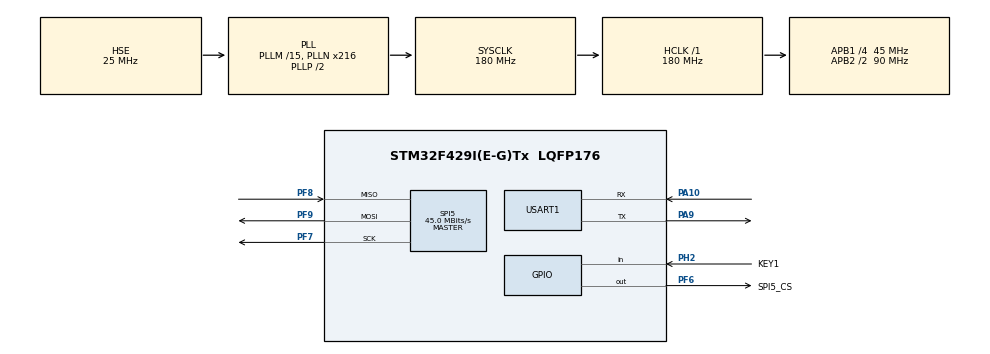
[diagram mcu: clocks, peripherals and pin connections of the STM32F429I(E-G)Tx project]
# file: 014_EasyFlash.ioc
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Mcu.Family=STM32F4
Mcu.Name=STM32F429I(E-G)Tx
Mcu.Package=LQFP176
NVIC.PriorityGroup=NVIC_PRIORITYGROUP_2
NVIC.TIM2_IRQn=true\:1\:0\:true\:false\:true\:true\:true
NVIC.USART1_IRQn=true\:1\:0\:true\:false\:true\:true\:true
PA10.Mode=Asynchronous
PA10.Signal=USART1_RX
PA13.Mode=Serial_Wire
PA13.Signal=SYS_JTMS-SWDIO
PA14.Mode=Serial_Wire
PA14.Signal=SYS_JTCK-SWCLK
PA9.Mode=Asynchronous
PA9.Signal=USART1_TX
PC14/OSC32_IN.Mode=LSE-External-Oscillator
PC14/OSC32_IN.Signal=RCC_OSC32_IN
PC15/OSC32_OUT.Mode=LSE-External-Oscillator
PC15/OSC32_OUT.Signal=RCC_OSC32_OUT
PF6.GPIO_Label=SPI5_CS
PF6.GPIO_PuPd=GPIO_PULLUP
PF6.GPIO_Speed=GPIO_SPEED_FREQ_VERY_HIGH
PF6.PinState=GPIO_PIN_SET
PF6.Signal=GPIO_Output
PF7.Mode=Full_Duplex_Master
PF7.Signal=SPI5_SCK
PF8.Mode=Full_Duplex_Master
PF8.Signal=SPI5_MISO
PF9.Mode=Full_Duplex_Master
PF9.Signal=SPI5_MOSI
PH0/OSC_IN.Mode=HSE-External-Oscillator
PH0/OSC_IN.Signal=RCC_OSC_IN
PH1/OSC_OUT.Mode=HSE-External-Oscillator
PH1/OSC_OUT.Signal=RCC_OSC_OUT
PH2.GPIO_Label=KEY1
PH2.GPIO_PuPd=GPIO_PULLUP
PH2.Signal=GPIO_Input
ProjectManager.HeapSize=0x200
ProjectManager.StackSize=0x400
ProjectManager.TargetToolchain=MDK-ARM V5.27
RCC.48MHZClocksFreq_Value=90000000
RCC.AHBFreq_Value=180000000
RCC.APB1CLKDivider=RCC_HCLK_DIV4
RCC.APB1Freq_Value=45000000
RCC.APB1TimFreq_Value=90000000
RCC.APB2CLKDivider=RCC_HCLK_DIV2
RCC.APB2Freq_Value=90000000
RCC.APB2TimFreq_Value=180000000
RCC.CortexFreq_Value=180000000
RCC.HCLKFreq_Value=180000000
RCC.HSE_VALUE=25000000
RCC.HSI_VALUE=16000000
RCC.PLLM=15
RCC.PLLN=216
RCC.PLLSourceVirtual=RCC_PLLSOURCE_HSE
RCC.SYSCLKFreq_VALUE=180000000
RCC.SYSCLKSource=RCC_SYSCLKSOURCE_PLLCLK
RCC.VCOOutputFreq_Value=360000000
SPI5.BaudRatePrescaler=SPI_BAUDRATEPRESCALER_2
SPI5.CalculateBaudRate=45.0 MBits/s
SPI5.Direction=SPI_DIRECTION_2LINES
SPI5.Mode=SPI_MODE_MASTER
SPI5.VirtualType=VM_MASTER
TIM2.Period=5-1
TIM2.Prescaler=45000-1
USART1.VirtualMode=VM_ASYNC
VP_TIM2_VS_ClockSourceINT.Mode=Internal
board=custom

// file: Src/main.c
/* USER CODE BEGIN Header */
/**
  ******************************************************************************
  * @file           : main.c
  * @brief          : Main program body
  ******************************************************************************
  * @attention
  *
  * <h2><center>&copy; Copyright (c) 2021 STMicroelectronics.
  * All rights reserved.</center></h2>
  *
  * This software component is licensed by ST under BSD 3-Clause license,
  * the "License"; You may not use this file except in compliance with the
  * License. You may obtain a copy of the License at:
  *                        opensource.org/licenses/BSD-3-Clause
  *
  ******************************************************************************
  */
/* USER CODE END Header */

#include "main.h"
#include "spi.h"
#include "tim.h"
#include "usart.h"
#include "gpio.h"

/* USER CODE BEGIN Includes */
#include "config.h"

/* USER CODE END Includes */

void SystemClock_Config(void);

/* USER CODE BEGIN 0 */

//开辟一块内存用于存放环形队列消息缓冲区
#define MSG_BUFFDATA_SIZE	128
static uint8_t msg_buffdata[MSG_BUFFDATA_SIZE];

//用于存储消息的环形缓冲队列的rt_ringbuffer句柄
struct rt_ringbuffer	msg_ringbuffer;

//系统消息处理
static uint8_t message_buff[256];
void msg_process(void)
{
	system_message sys_msg;

	if(rt_ringbuffer_data_len(&msg_ringbuffer)!= 0) //消息队列不为空，则有消息需要处理
	{
		rt_ringbuffer_get(&msg_ringbuffer,(uint8_t *) &sys_msg.msg_type, 2);//读取消息类型(1字节) + 消息参数(1字节)，其中：不同消息类型对应的消息参数意义也不同，由用户自行定义

		switch(sys_msg.msg_type)
		{
			case MSG_USART1_REC_FINISH:
				rt_ringbuffer_get(&usart1_recv_ring_buf, message_buff, sys_msg.msg_parameter);
			    message_buff[sys_msg.msg_parameter] = '\0';//sys_msg.msg_parameter中存放的是串口1接收帧的长度信息
			    printf("%s\n",message_buff);
				break;

			case MSG_W25QXX_TEST:
				w25qxx_test();
				break;

			case MSG_EASYFLASH_TEST:
				test_env();
				break;
			default:break;
		}
	}
}

//申请三个按键结构
struct Button button0;
struct Button button1;
struct Button button2;

//三个按键状态读取接口
uint8_t read_button0_GPIO()
{
	return HAL_GPIO_ReadPin(KEY0_GPIO_Port, KEY0_Pin);
}
uint8_t read_button1_GPIO()
{
	return HAL_GPIO_ReadPin(KEY1_GPIO_Port, KEY1_Pin);
}
uint8_t read_button2_GPIO()
{
	return HAL_GPIO_ReadPin(KEY2_GPIO_Port, KEY2_Pin);
}

//按键回调函数
void button0_callback(void *button)
{
		//系统消息
		system_message  sys_msg;

    uint32_t btn_event_val;

    btn_event_val = get_button_event((struct Button *)button);

    switch(btn_event_val)
    {
	    case SINGLE_CLICK:
	        printf("---> key0 single click! <---\r\n");
	    	break;

			case DOUBLE_CLICK:
					printf("---> key0 double click! <---\r\n");
				break;
	}
}
void button1_callback(void *button)
{
		//系统消息
		system_message  sys_msg;

    uint32_t btn_event_val;

    btn_event_val = get_button_event((struct Button *)button);

    switch(btn_event_val)
    {
	    case PRESS_DOWN:
	        printf("---> key1 press down! <---\r\n");
	    	break;

	    case PRESS_UP:
	        printf("***> key1 press up! <***\r\n");
	    	break;

	    case PRESS_REPEAT:
	        printf("---> key1 press repeat! <---\r\n");
	    	break;

	    case SINGLE_CLICK: //send msg MSG_W25QXX_TEST,in order to test w25q64 example
					sys_msg.msg_type = MSG_W25QXX_TEST;
					sys_msg.msg_parameter = 0;
					rt_ringbuffer_put(&msg_ringbuffer,(uint8_t *)&sys_msg.msg_type,2);
	        printf("---> key1 single click! <---\r\n");
	    	break;

			case DOUBLE_CLICK://send msg MSG_EASYFLASH_TEST,in order to test EASYFLASH example
					sys_msg.msg_type = MSG_EASYFLASH_TEST;
					sys_msg.msg_parameter = 0;
					rt_ringbuffer_put(&msg_ringbuffer,(uint8_t *)&sys_msg.msg_type,2);
					printf("---> key1 double click! <---\r\n");
				break;

	    case LONG_PRESS_START:
	        printf("---> key1 long press start! <---\r\n");
	   		break;

	    case LONG_PRESS_HOLD:
	        printf("***> key1 long press hold! <***\r\n");
	    	break;
	}
}
void button2_callback(void *button)
{
		//系统消息
		system_message  sys_msg;

    uint32_t btn_event_val;

    btn_event_val = get_button_event((struct Button *)button);

    switch(btn_event_val)
    {
	    case SINGLE_CLICK:
	        printf("---> key2 single click! <---\r\n");
	    	break;

			case DOUBLE_CLICK:
					printf("---> key2 double click! <---\r\n");
				break;
	}
}

//TIM回调
void HAL_TIM_PeriodElapsedCallback(TIM_HandleTypeDef *htim)
{
		if(htim->Instance == htim2.Instance)
		{
			button_ticks();
		}

}

/*****************************w25qxx example****************************************/
char w25qxx_test_string[6][128]={
	"***************************Copyright (c)***************************",
	"**----------------------Hello World !!! -------------------------**",
	"** Thanks to armink:https://github.com/armink/SFUD               **",
	"** reference:                                                    **",
	"** https://mculover666.blog.csdn.net/article/details/105516371   **",
	"*******************************************************************"
};
//w25qxx_test测试
void w25qxx_test(void)
{
	int i;
	char sBuff[256]={0};
//	sfud_err result = SFUD_SUCCESS;
    const sfud_flash *flash = sfud_get_device_table() + 0;

	for(i=0;i<6;i++)
	{
		sfud_erase_write(flash, 0, strlen(w25qxx_test_string[i]),(uint8_t *)w25qxx_test_string[i]);
	    sfud_read(flash, 0, strlen(w25qxx_test_string[i]),(uint8_t *) sBuff);
	    printf("%s\n",sBuff);
	}
}

//初始化easyflash函数返回值，用于判断是否初始化成功
unsigned char ret = 0;

//编写一个EasyFlash测试函数
void test_env(void)
{
	char wifi_ssid[20] = {0};
	char wifi_passwd[20] = {0};
	size_t len = 0;

	/* 读取默认环境变量值 */
	//环境变量长度未知，先获取 Flash 上存储的实际长度 */
	ef_get_env_blob("wifi_ssid", NULL, 0, &len);
	//获取环境变量
	ef_get_env_blob("wifi_ssid", wifi_ssid, len, NULL);
	//打印获取的环境变量值
	printf("wifi_ssid env is:%s\r\n", wifi_ssid);

	//环境变量长度未知，先获取 Flash 上存储的实际长度 */
	ef_get_env_blob("wifi_passwd", NULL, 0, &len);
	//获取环境变量
	ef_get_env_blob("wifi_passwd", wifi_passwd, len, NULL);
	//打印获取的环境变量值
	printf("wifi_passwd env is:%s\r\n", wifi_passwd);

	/* 将环境变量值改变 */
	ef_set_env_blob("wifi_ssid", "SSID_TEST", 9);
	ef_set_env_blob("wifi_passwd", "66666666", 8);

}

/* USER CODE END 0 */

int main(void)
{

  /* MCU Configuration--------------------------------------------------------*/

  /* Reset of all peripherals, Initializes the Flash interface and the Systick. */
  HAL_Init();

  /* Configure the system clock */
  SystemClock_Config();

  /* Initialize all configured peripherals */
  MX_GPIO_Init();
  MX_SPI5_Init();
  MX_USART1_UART_Init();
  MX_TIM2_Init();
  /* USER CODE BEGIN 2 */

	printf("MultiButton+RingBuffer+SFUD+EasyFlash Test...\r\n");

	//初始化消息环形队列
	rt_ringbuffer_init(&msg_ringbuffer, msg_buffdata, MSG_BUFFDATA_SIZE);
  HAL_Delay(1);

	//初始化sfud
//	sfud_init();

	//初始化easyflash
	easyflash_init();
	HAL_Delay(1);
	if(ret != EF_NO_ERR)
{
	printf("EasyFlash init fail, EfErrCode = %d.r\n", ret);
}

	//初始化三个按键对象
	button_init(&button0, read_button0_GPIO, 0);
	button_init(&button1, read_button1_GPIO, 0);
	button_init(&button2, read_button2_GPIO, 0);

	//注册按钮事件回调函数
	//按键0
	button_attach(&button0, SINGLE_CLICK,     button0_callback);
	button_attach(&button0, DOUBLE_CLICK,     button0_callback);

	//按键1
//	button_attach(&button1, PRESS_DOWN,       button1_callback);
//	button_attach(&button1, PRESS_UP,         button1_callback);
//	button_attach(&button1, PRESS_REPEAT,     button1_callback);
	button_attach(&button1, SINGLE_CLICK,     button1_callback);
	button_attach(&button1, DOUBLE_CLICK,     button1_callback);
//	button_attach(&button1, LONG_PRESS_START, button1_callback);
//	button_attach(&button1, LONG_PRESS_HOLD,  button1_callback);

	//按键2
	button_attach(&button2, SINGLE_CLICK,     button2_callback);
	button_attach(&button2, DOUBLE_CLICK,     button2_callback);

	//启动按键
	button_start(&button0);
	button_start(&button1);
	button_start(&button2);

	//启动定时器
	HAL_TIM_Base_Start_IT(&htim2);

  /* USER CODE END 2 */

  /* Infinite loop */
  /* USER CODE BEGIN WHILE */
  while (1)
  {
		//		HAL_Delay(200);
		msg_process();
    /* USER CODE END WHILE */

  }
}

void SystemClock_Config(void)
{
  RCC_OscInitTypeDef RCC_OscInitStruct = {0};
  RCC_ClkInitTypeDef RCC_ClkInitStruct = {0};

  /** Configure the main internal regulator output voltage
  */
  __HAL_RCC_PWR_CLK_ENABLE();
  __HAL_PWR_VOLTAGESCALING_CONFIG(PWR_REGULATOR_VOLTAGE_SCALE1);
  /** Initializes the CPU, AHB and APB busses clocks
  */
  RCC_OscInitStruct.OscillatorType = RCC_OSCILLATORTYPE_HSE;
  RCC_OscInitStruct.HSEState = RCC_HSE_ON;
  RCC_OscInitStruct.PLL.PLLState = RCC_PLL_ON;
  RCC_OscInitStruct.PLL.PLLSource = RCC_PLLSOURCE_HSE;
  RCC_OscInitStruct.PLL.PLLM = 15;
  RCC_OscInitStruct.PLL.PLLN = 216;
  RCC_OscInitStruct.PLL.PLLP = RCC_PLLP_DIV2;
  RCC_OscInitStruct.PLL.PLLQ = 4;
  if (HAL_RCC_OscConfig(&RCC_OscInitStruct) != HAL_OK)
  {
    Error_Handler();
  }
  /** Activate the Over-Drive mode
  */
  if (HAL_PWREx_EnableOverDrive() != HAL_OK)
  {
    Error_Handler();
  }
  /** Initializes the CPU, AHB and APB busses clocks
  */
  RCC_ClkInitStruct.ClockType = RCC_CLOCKTYPE_HCLK|RCC_CLOCKTYPE_SYSCLK
                              |RCC_CLOCKTYPE_PCLK1|RCC_CLOCKTYPE_PCLK2;
  RCC_ClkInitStruct.SYSCLKSource = RCC_SYSCLKSOURCE_PLLCLK;
  RCC_ClkInitStruct.AHBCLKDivider = RCC_SYSCLK_DIV1;
  RCC_ClkInitStruct.APB1CLKDivider = RCC_HCLK_DIV4;
  RCC_ClkInitStruct.APB2CLKDivider = RCC_HCLK_DIV2;

  if (HAL_RCC_ClockConfig(&RCC_ClkInitStruct, FLASH_LATENCY_5) != HAL_OK)
  {
    Error_Handler();
  }
}

void Error_Handler(void)
{
}

/************************ (C) COPYRIGHT STMicroelectronics *****END OF FILE****/
